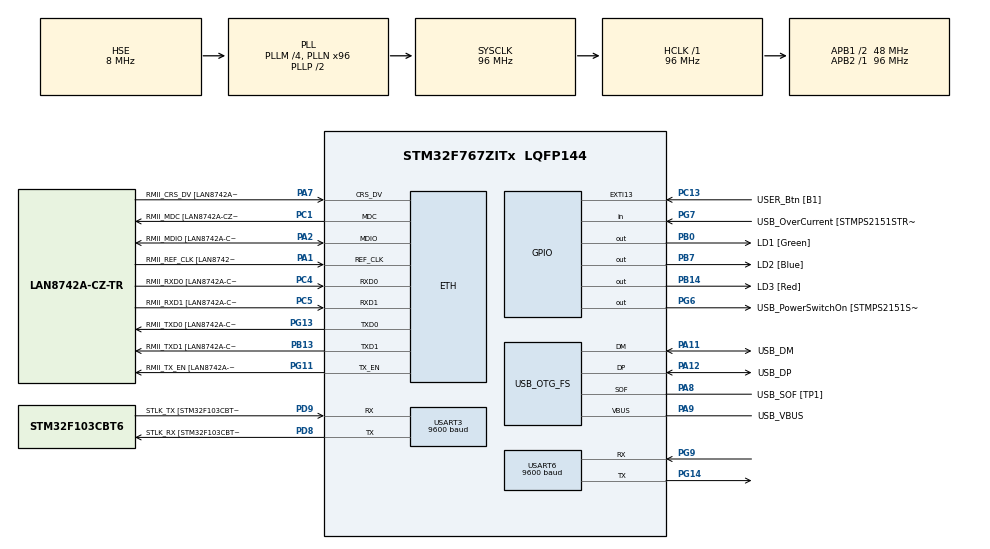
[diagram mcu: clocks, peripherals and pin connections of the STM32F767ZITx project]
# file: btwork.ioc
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ETH.MediaInterface=HAL_ETH_RMII_MODE
ETH.PHY_Name=LAN8742A_PHY_ADDRESS
ETH.PHY_Value=0
ETH.PhyAddress=0
Mcu.Family=STM32F7
Mcu.Name=STM32F767ZITx
Mcu.Package=LQFP144
NVIC.PriorityGroup=NVIC_PRIORITYGROUP_4
NVIC.USART3_IRQn=true\:0\:0\:false\:false\:true\:true\:true\:true
NVIC.USART6_IRQn=true\:0\:0\:false\:false\:true\:true\:true\:true
PA1.GPIO_Label=RMII_REF_CLK [LAN8742A-CZ-TR_REFCLK0]
PA1.Mode=RMII
PA1.Signal=ETH_REF_CLK
PA10.GPIO_Label=USB_ID
PA10.Signal=USB_OTG_FS_ID
PA11.GPIO_Label=USB_DM
PA11.Mode=Device_Only
PA11.Signal=USB_OTG_FS_DM
PA12.GPIO_Label=USB_DP
PA12.Mode=Device_Only
PA12.Signal=USB_OTG_FS_DP
PA13.GPIO_Label=TMS
PA13.Mode=Serial_Wire
PA13.Signal=SYS_JTMS-SWDIO
PA14.GPIO_Label=TCK
PA14.Mode=Serial_Wire
PA14.Signal=SYS_JTCK-SWCLK
PA2.GPIO_Label=RMII_MDIO [LAN8742A-CZ-TR_MDIO]
PA2.Mode=RMII
PA2.Signal=ETH_MDIO
PA7.GPIO_Label=RMII_CRS_DV [LAN8742A-CZ-TR_CRS_DV]
PA7.Mode=RMII
PA7.Signal=ETH_CRS_DV
PA8.GPIO_Label=USB_SOF [TP1]
PA8.Mode=Activate_SOF_FS
PA8.Signal=USB_OTG_FS_SOF
PA9.GPIO_Label=USB_VBUS
PA9.Mode=Activate_VBUS
PA9.Signal=USB_OTG_FS_VBUS
PB0.GPIO_Label=LD1 [Green]
PB0.Signal=GPIO_Output
PB13.GPIO_Label=RMII_TXD1 [LAN8742A-CZ-TR_TXD1]
PB13.Mode=RMII
PB13.Signal=ETH_TXD1
PB14.GPIO_Label=LD3 [Red]
PB14.Signal=GPIO_Output
PB3.GPIO_Label=SWO
PB3.Signal=SYS_JTDO-SWO
PB7.GPIO_Label=LD2 [Blue]
PB7.Signal=GPIO_Output
PC1.GPIO_Label=RMII_MDC [LAN8742A-CZ-TR_MDC]
PC1.Mode=RMII
PC1.Signal=ETH_MDC
PC13.GPIO_Label=USER_Btn [B1]
PC13.Signal=GPXTI13
PC14/OSC32_IN.Mode=LSE-External-Oscillator
PC14/OSC32_IN.Signal=RCC_OSC32_IN
PC15/OSC32_OUT.Mode=LSE-External-Oscillator
PC15/OSC32_OUT.Signal=RCC_OSC32_OUT
PC4.GPIO_Label=RMII_RXD0 [LAN8742A-CZ-TR_RXD0]
PC4.Mode=RMII
PC4.Signal=ETH_RXD0
PC5.GPIO_Label=RMII_RXD1 [LAN8742A-CZ-TR_RXD1]
PC5.Mode=RMII
PC5.Signal=ETH_RXD1
PD8.GPIO_Label=STLK_RX [STM32F103CBT6_PA3]
PD8.Mode=Asynchronous
PD8.Signal=USART3_TX
PD9.GPIO_Label=STLK_TX [STM32F103CBT6_PA2]
PD9.Mode=Asynchronous
PD9.Signal=USART3_RX
PG11.GPIO_Label=RMII_TX_EN [LAN8742A-CZ-TR_TXEN]
PG11.Mode=RMII
PG11.Signal=ETH_TX_EN
PG13.GPIO_Label=RMII_TXD0 [LAN8742A-CZ-TR_TXD0]
PG13.Mode=RMII
PG13.Signal=ETH_TXD0
PG14.Mode=Asynchronous
PG14.Signal=USART6_TX
PG6.GPIO_Label=USB_PowerSwitchOn [STMPS2151STR_EN]
PG6.Signal=GPIO_Output
PG7.GPIO_Label=USB_OverCurrent [STMPS2151STR_FAULT]
PG7.Signal=GPIO_Input
PG9.Mode=Asynchronous
PG9.Signal=USART6_RX
PH0/OSC_IN.GPIO_Label=MCO [STM32F103CBT6_PA8]
PH0/OSC_IN.Mode=HSE-External-Clock-Source
PH0/OSC_IN.Signal=RCC_OSC_IN
PH1/OSC_OUT.Mode=HSE-External-Clock-Source
PH1/OSC_OUT.Signal=RCC_OSC_OUT
ProjectManager.HeapSize=0x200
ProjectManager.StackSize=0x400
ProjectManager.TargetToolchain=STM32CubeIDE
RCC.48MHZClocksFreq_Value=24000000
RCC.AHBFreq_Value=96000000
RCC.APB1CLKDivider=RCC_HCLK_DIV2
RCC.APB1Freq_Value=48000000
RCC.APB1TimFreq_Value=96000000
RCC.APB2Freq_Value=96000000
RCC.APB2TimFreq_Value=96000000
RCC.CortexFreq_Value=96000000
RCC.HCLKFreq_Value=96000000
RCC.HSE_VALUE=8000000
RCC.HSI_VALUE=16000000
RCC.PLLM=4
RCC.PLLMUL=RCC_PLL_MUL9
RCC.PLLN=96
RCC.PLLQ=4
RCC.PRESCALERUSB=RCC_USBCLKSOURCE_PLL_DIV1_5
RCC.SYSCLKFreq_VALUE=96000000
RCC.SYSCLKSource=RCC_SYSCLKSOURCE_PLLCLK
RCC.SYSCLKSourceVirtual=RCC_SYSCLKSOURCE_PLLCLK
RCC.USBFreq_Value=48000000
RCC.VCOOutputFreq_Value=192000000
USART3.BaudRate=9600
USART3.VirtualMode-Asynchronous=VM_ASYNC
USART6.BaudRate=9600
USART6.VirtualMode-Asynchronous=VM_ASYNC
USB_OTG_FS.VirtualMode=Device_Only
board=NUCLEO-F767ZI

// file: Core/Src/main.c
/* USER CODE BEGIN Header */
/**
  ******************************************************************************
  * @file           : main.c
  * @brief          : Main program body
  ******************************************************************************
  * @attention
  *
  * Copyright (c) 2025 STMicroelectronics.
  * All rights reserved.
  *
  * This software is licensed under terms that can be found in the LICENSE file
  * in the root directory of this software component.
  * If no LICENSE file comes with this software, it is provided AS-IS.
  *
  ******************************************************************************
  */
/* USER CODE END Header */
#include "main.h"
#include "string.h"
#include <stdio.h>
#include "weighted_alg.h"

#if defined ( __ICCARM__ ) /*!< IAR Compiler */
#pragma location=0x2007c000
ETH_DMADescTypeDef  DMARxDscrTab[ETH_RX_DESC_CNT]; /* Ethernet Rx DMA Descriptors */
#pragma location=0x2007c0a0
ETH_DMADescTypeDef  DMATxDscrTab[ETH_TX_DESC_CNT]; /* Ethernet Tx DMA Descriptors */

#elif defined ( __CC_ARM )  /* MDK ARM Compiler */

__attribute__((at(0x2007c000))) ETH_DMADescTypeDef  DMARxDscrTab[ETH_RX_DESC_CNT]; /* Ethernet Rx DMA Descriptors */
__attribute__((at(0x2007c0a0))) ETH_DMADescTypeDef  DMATxDscrTab[ETH_TX_DESC_CNT]; /* Ethernet Tx DMA Descriptors */

#elif defined ( __GNUC__ ) /* GNU Compiler */

ETH_DMADescTypeDef DMARxDscrTab[ETH_RX_DESC_CNT] __attribute__((section(".RxDecripSection"))); /* Ethernet Rx DMA Descriptors */
ETH_DMADescTypeDef DMATxDscrTab[ETH_TX_DESC_CNT] __attribute__((section(".TxDecripSection")));   /* Ethernet Tx DMA Descriptors */
#endif

ETH_TxPacketConfig TxConfig;

ETH_HandleTypeDef heth;

UART_HandleTypeDef huart3;
UART_HandleTypeDef huart6;

PCD_HandleTypeDef hpcd_USB_OTG_FS;

void SystemClock_Config(void);
static void MX_GPIO_Init(void);
static void MX_ETH_Init(void);
static void MX_USART3_UART_Init(void);
static void MX_USB_OTG_FS_PCD_Init(void);
static void MX_USART6_UART_Init(void);

/* USER CODE BEGIN 0 */
uint8_t rx_byte;
uint8_t bt_rx;
uint32_t t_start = 0;
uint8_t bt_tx = 'P';
uint8_t bt_rx;
uint32_t last_rtt_ms = 0;
uint32_t last_rx_tick = 0;
uint32_t delta_ms = 0;
/* USER CODE END 0 */
LinkMetrics eth_metrics = {0};
LinkMetrics bt_metrics  = {0};

NormalizationParams norm = {
    .rtt_max  = 200.0f,
    .loss_max = 0.2f,
    .thr_max  = 1000.0f
};

Weights w = {
    .w_rtt  = 0.4f,
    .w_loss = 0.4f,
    .w_thr  = 0.2f
};

SwitchParams sp = {
    .hysteresis     = 0.05f,
    .stable_time_ms = 5000
};

SwitchState st = {
    .current_link     = LINK_ETH,
    .better_since_ms  = 0U
};
int main(void)
{

  /* MCU Configuration--------------------------------------------------------*/

  /* Reset of all peripherals, Initializes the Flash interface and the Systick. */

HAL_Init();

  /* Configure the system clock */
  SystemClock_Config();

  /* Initialize all configured peripherals */
  MX_GPIO_Init();
  MX_ETH_Init();
  MX_USART3_UART_Init();
  MX_USB_OTG_FS_PCD_Init();
  MX_USART6_UART_Init();
  /* USER CODE BEGIN 2 */
  HAL_UART_Receive_IT(&huart6, &bt_rx, 1);
  /* USER CODE END 2 */

  /* Infinite loop */
  /* USER CODE BEGIN WHILE */
  while (1)
  {
	  // Prvý scenár: Ethernet lepší
	  // --- KROK A: Zjištění reálné dostupnosti Ethernetu ---
	        // heth je tvoje instance ethernetu. Kontrolujeme, jestli je link "UP"
	        if (heth.State == HAL_ETH_STATE_READY && (heth.Instance->SR & ETH_DMARXDESC_LS)) {
	            eth_metrics.available = 1;
	        } else {
	            // Pokud odpojíš kabel, nastavíme horší parametry
	            eth_metrics.available = 0;
	            eth_metrics.loss = 1.0f; // 100% ztráta
	            eth_metrics.health_score = 0;
	        }

	        // --- KROK B: Výpočet skóre ---
	        float score_eth = link_score(&eth_metrics, &norm, &w);
	        float score_bt  = link_score(&bt_metrics,  &norm, &w);

	        uint32_t now = HAL_GetTick();
	        LinkId chosen = decide_link(&st, score_eth, score_bt, &sp, now);

	        // --- KROK C: Vizualizace na LED (Nucleo deska) ---

	        HAL_Delay(100); // Nemusíš čekat celou sekundu, 100ms je na reakci lepší
    /* USER CODE END WHILE */

  }
}

void SystemClock_Config(void)
{
  RCC_OscInitTypeDef RCC_OscInitStruct = {0};
  RCC_ClkInitTypeDef RCC_ClkInitStruct = {0};

  /** Configure LSE Drive Capability
  */
  HAL_PWR_EnableBkUpAccess();

  /** Configure the main internal regulator output voltage
  */
  __HAL_RCC_PWR_CLK_ENABLE();
  __HAL_PWR_VOLTAGESCALING_CONFIG(PWR_REGULATOR_VOLTAGE_SCALE3);

  /** Initializes the RCC Oscillators according to the specified parameters
  * in the RCC_OscInitTypeDef structure.
  */
  RCC_OscInitStruct.OscillatorType = RCC_OSCILLATORTYPE_HSE;
  RCC_OscInitStruct.HSEState = RCC_HSE_BYPASS;
  RCC_OscInitStruct.PLL.PLLState = RCC_PLL_ON;
  RCC_OscInitStruct.PLL.PLLSource = RCC_PLLSOURCE_HSE;
  RCC_OscInitStruct.PLL.PLLM = 4;
  RCC_OscInitStruct.PLL.PLLN = 96;
  RCC_OscInitStruct.PLL.PLLP = RCC_PLLP_DIV2;
  RCC_OscInitStruct.PLL.PLLQ = 4;
  RCC_OscInitStruct.PLL.PLLR = 2;
  if (HAL_RCC_OscConfig(&RCC_OscInitStruct) != HAL_OK)
  {
    Error_Handler();
  }

  /** Activate the Over-Drive mode
  */
  if (HAL_PWREx_EnableOverDrive() != HAL_OK)
  {
    Error_Handler();
  }

  /** Initializes the CPU, AHB and APB buses clocks
  */
  RCC_ClkInitStruct.ClockType = RCC_CLOCKTYPE_HCLK|RCC_CLOCKTYPE_SYSCLK
                              |RCC_CLOCKTYPE_PCLK1|RCC_CLOCKTYPE_PCLK2;
  RCC_ClkInitStruct.SYSCLKSource = RCC_SYSCLKSOURCE_PLLCLK;
  RCC_ClkInitStruct.AHBCLKDivider = RCC_SYSCLK_DIV1;
  RCC_ClkInitStruct.APB1CLKDivider = RCC_HCLK_DIV2;
  RCC_ClkInitStruct.APB2CLKDivider = RCC_HCLK_DIV1;

  if (HAL_RCC_ClockConfig(&RCC_ClkInitStruct, FLASH_LATENCY_3) != HAL_OK)
  {
    Error_Handler();
  }
}

static void MX_ETH_Init(void)
{

   static uint8_t MACAddr[6];

  heth.Instance = ETH;
  MACAddr[0] = 0x00;
  MACAddr[1] = 0x80;
  MACAddr[2] = 0xE1;
  MACAddr[3] = 0x00;
  MACAddr[4] = 0x00;
  MACAddr[5] = 0x00;
  heth.Init.MACAddr = &MACAddr[0];
  heth.Init.MediaInterface = HAL_ETH_RMII_MODE;
  heth.Init.TxDesc = DMATxDscrTab;
  heth.Init.RxDesc = DMARxDscrTab;
  heth.Init.RxBuffLen = 1524;

  if (HAL_ETH_Init(&heth) != HAL_OK)
  {
    Error_Handler();
  }

  memset(&TxConfig, 0 , sizeof(ETH_TxPacketConfig));
  TxConfig.Attributes = ETH_TX_PACKETS_FEATURES_CSUM | ETH_TX_PACKETS_FEATURES_CRCPAD;
  TxConfig.ChecksumCtrl = ETH_CHECKSUM_IPHDR_PAYLOAD_INSERT_PHDR_CALC;
  TxConfig.CRCPadCtrl = ETH_CRC_PAD_INSERT;

}

static void MX_USART3_UART_Init(void)
{

  huart3.Instance = USART3;
  huart3.Init.BaudRate = 9600;
  huart3.Init.WordLength = UART_WORDLENGTH_8B;
  huart3.Init.StopBits = UART_STOPBITS_1;
  huart3.Init.Parity = UART_PARITY_NONE;
  huart3.Init.Mode = UART_MODE_TX_RX;
  huart3.Init.HwFlowCtl = UART_HWCONTROL_NONE;
  huart3.Init.OverSampling = UART_OVERSAMPLING_16;
  huart3.Init.OneBitSampling = UART_ONE_BIT_SAMPLE_DISABLE;
  huart3.AdvancedInit.AdvFeatureInit = UART_ADVFEATURE_NO_INIT;
  if (HAL_UART_Init(&huart3) != HAL_OK)
  {
    Error_Handler();
  }

}

static void MX_USART6_UART_Init(void)
{

  huart6.Instance = USART6;
  huart6.Init.BaudRate = 9600;
  huart6.Init.WordLength = UART_WORDLENGTH_8B;
  huart6.Init.StopBits = UART_STOPBITS_1;
  huart6.Init.Parity = UART_PARITY_NONE;
  huart6.Init.Mode = UART_MODE_TX_RX;
  huart6.Init.HwFlowCtl = UART_HWCONTROL_NONE;
  huart6.Init.OverSampling = UART_OVERSAMPLING_16;
  huart6.Init.OneBitSampling = UART_ONE_BIT_SAMPLE_DISABLE;
  huart6.AdvancedInit.AdvFeatureInit = UART_ADVFEATURE_NO_INIT;
  if (HAL_UART_Init(&huart6) != HAL_OK)
  {
    Error_Handler();
  }

}

static void MX_USB_OTG_FS_PCD_Init(void)
{

  hpcd_USB_OTG_FS.Instance = USB_OTG_FS;
  hpcd_USB_OTG_FS.Init.dev_endpoints = 6;
  hpcd_USB_OTG_FS.Init.speed = PCD_SPEED_FULL;
  hpcd_USB_OTG_FS.Init.dma_enable = DISABLE;
  hpcd_USB_OTG_FS.Init.phy_itface = PCD_PHY_EMBEDDED;
  hpcd_USB_OTG_FS.Init.Sof_enable = ENABLE;
  hpcd_USB_OTG_FS.Init.low_power_enable = DISABLE;
  hpcd_USB_OTG_FS.Init.lpm_enable = DISABLE;
  hpcd_USB_OTG_FS.Init.vbus_sensing_enable = ENABLE;
  hpcd_USB_OTG_FS.Init.use_dedicated_ep1 = DISABLE;
  if (HAL_PCD_Init(&hpcd_USB_OTG_FS) != HAL_OK)
  {
    Error_Handler();
  }

}

static void MX_GPIO_Init(void)
{
  GPIO_InitTypeDef GPIO_InitStruct = {0};

  /* GPIO Ports Clock Enable */
  __HAL_RCC_GPIOC_CLK_ENABLE();
  __HAL_RCC_GPIOH_CLK_ENABLE();
  __HAL_RCC_GPIOA_CLK_ENABLE();
  __HAL_RCC_GPIOB_CLK_ENABLE();
  __HAL_RCC_GPIOD_CLK_ENABLE();
  __HAL_RCC_GPIOG_CLK_ENABLE();

  /*Configure GPIO pin Output Level */
  HAL_GPIO_WritePin(GPIOB, LD1_Pin|LD3_Pin|LD2_Pin, GPIO_PIN_RESET);

  /*Configure GPIO pin Output Level */
  HAL_GPIO_WritePin(USB_PowerSwitchOn_GPIO_Port, USB_PowerSwitchOn_Pin, GPIO_PIN_RESET);

  /*Configure GPIO pin : USER_Btn_Pin */
  GPIO_InitStruct.Pin = USER_Btn_Pin;
  GPIO_InitStruct.Mode = GPIO_MODE_IT_RISING;
  GPIO_InitStruct.Pull = GPIO_NOPULL;
  HAL_GPIO_Init(USER_Btn_GPIO_Port, &GPIO_InitStruct);

  /*Configure GPIO pins : LD1_Pin LD3_Pin LD2_Pin */
  GPIO_InitStruct.Pin = LD1_Pin|LD3_Pin|LD2_Pin;
  GPIO_InitStruct.Mode = GPIO_MODE_OUTPUT_PP;
  GPIO_InitStruct.Pull = GPIO_NOPULL;
  GPIO_InitStruct.Speed = GPIO_SPEED_FREQ_LOW;
  HAL_GPIO_Init(GPIOB, &GPIO_InitStruct);

  /*Configure GPIO pin : USB_PowerSwitchOn_Pin */
  GPIO_InitStruct.Pin = USB_PowerSwitchOn_Pin;
  GPIO_InitStruct.Mode = GPIO_MODE_OUTPUT_PP;
  GPIO_InitStruct.Pull = GPIO_NOPULL;
  GPIO_InitStruct.Speed = GPIO_SPEED_FREQ_LOW;
  HAL_GPIO_Init(USB_PowerSwitchOn_GPIO_Port, &GPIO_InitStruct);

  /*Configure GPIO pin : USB_OverCurrent_Pin */
  GPIO_InitStruct.Pin = USB_OverCurrent_Pin;
  GPIO_InitStruct.Mode = GPIO_MODE_INPUT;
  GPIO_InitStruct.Pull = GPIO_NOPULL;
  HAL_GPIO_Init(USB_OverCurrent_GPIO_Port, &GPIO_InitStruct);

}

/* USER CODE BEGIN 4 */
void HAL_UART_RxCpltCallback(UART_HandleTypeDef *huart)
{
    if (huart->Instance == USART6)
    {
        uint32_t now = HAL_GetTick();
        if (last_rx_tick != 0)
        {
            delta_ms = now - last_rx_tick;  // čas medzi dvoma znakmi
            char buf[32];
            int n = snprintf(buf, sizeof(buf), "%lu\r\n", (unsigned long)delta_ms);
            HAL_UART_Transmit(&huart3, (uint8_t*)buf, n, HAL_MAX_DELAY); // pošli na PC
        }
        last_rx_tick = now;

        HAL_UART_Receive_IT(&huart6, &bt_rx, 1); // počúvaj ďalej
    }
}
/* USER CODE END 4 */

void Error_Handler(void)
{
  __disable_irq();
  while (1)
  {
  }
}
